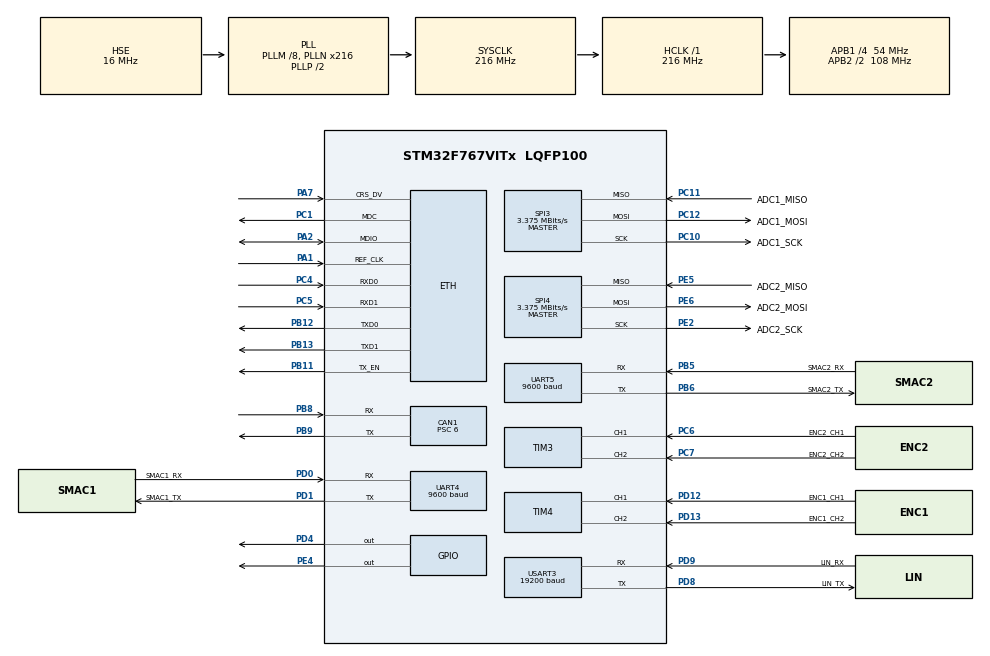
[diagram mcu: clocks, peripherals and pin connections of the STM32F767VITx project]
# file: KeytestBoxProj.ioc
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CAN1.ABOM=DISABLE
CAN1.BS1=CAN_BS1_16TQ
CAN1.CalculateBaudRate=500000
CAN1.CalculateTimeBit=2000
CAN1.CalculateTimeQuantum=111.11111111111111
CAN1.NART=DISABLE
CAN1.Prescaler=6
CORTEX_M7.AccessPermission_Spec=MPU_REGION_NO_ACCESS
CORTEX_M7.CPU_DCache=Disabled
CORTEX_M7.CPU_ICache=Disabled
CORTEX_M7.MPU_Control=MPU_PRIVILEGED_DEFAULT
CORTEX_M7.default_mode_Activation=1
ETH.ETH_RX_DESC_CNT=16
ETH.ETH_TX_DESC_CNT=16
ETH.MediaInterface=HAL_ETH_RMII_MODE
FREERTOS.Tasks01=defaultTask,-2,128,StartDefaultTask,Default,NULL,Dynamic,NULL,NULL;KeyTestTask,3,2048,KeytestTask,Default,(void*)st_Keytest,Dynamic,NULL,NULL;MqttTask,-2,4096,MqttTaskFunction,Default,NULL,Dynamic,NULL,NULL
FREERTOS.configTOTAL_HEAP_SIZE=65536
FREERTOS.configUSE_NEWLIB_REENTRANT=1
FREERTOS.configUSE_TRACE_FACILITY=1
LWIP.BSP.number=1
LWIP.DEFAULT_THREAD_PRIO=4
LWIP.GATEWAY_ADDRESS=192.168.001.254
LWIP.IP_ADDRESS=192.168.001.101
LWIP.LWIP_ALLOW_MEM_FREE_FROM_OTHER_CONTEXT=0
LWIP.LWIP_DHCP=0
LWIP.LWIP_MPU_COMPATIBLE=1
LWIP.LWIP_TCPIP_CORE_LOCKING=1
LWIP.LWIP_TCPIP_CORE_LOCKING_INPUT=1
LWIP.MEMP_NUM_PBUF=64
LWIP.MEMP_NUM_SYS_TIMEOUT=6
LWIP.MEMP_USE_CUSTOM_POOLS=0
LWIP.MEM_SIZE=65536
LWIP.MEM_USE_POOLS=0
LWIP.MEM_USE_POOLS_TRY_BIGGER_POOL=1
LWIP.NETMASK_ADDRESS=255.255.255.000
LWIP.PBUF_POOL_BUFSIZE=1024
LWIP.PBUF_POOL_SIZE=64
LWIP.SLIPIF_THREAD_PRIO=4
LWIP.TCPIP_THREAD_PRIO=4
LWIP.Version=v2.1.2_Cube
LWIP0.BSP.STBoard=false
LWIP0.BSP.api=BSP_COMPONENT_DRIVER
LWIP0.BSP.component=LAN8742
LWIP0.BSP.instance=LAN8742
LWIP0.BSP.name=Driver_PHY
LWIP0.BSP.semaphore=S_LAN8742
LWIP0.BSP.solution=LAN8742
Mcu.Family=STM32F7
Mcu.Name=STM32F767VITx
Mcu.Package=LQFP100
NVIC.CAN1_RX0_IRQn=true\:5\:0\:false\:false\:true\:true\:true\:true\:true
NVIC.CAN1_RX1_IRQn=true\:5\:0\:false\:false\:true\:true\:true\:true\:true
NVIC.ETH_IRQn=true\:5\:0\:false\:false\:true\:true\:false\:true\:true
NVIC.PriorityGroup=NVIC_PRIORITYGROUP_4
NVIC.SPI3_IRQn=true\:5\:0\:false\:false\:true\:true\:true\:true\:true
NVIC.SPI4_IRQn=true\:5\:0\:false\:false\:true\:true\:true\:true\:true
NVIC.TIM1_UP_TIM10_IRQn=true\:15\:0\:false\:false\:true\:false\:false\:true\:true
NVIC.TIM8_UP_TIM13_IRQn=true\:5\:0\:false\:false\:true\:true\:true\:true\:true
NVIC.TimeBase=TIM1_UP_TIM10_IRQn
NVIC.TimeBaseIP=TIM1
NVIC.UART4_IRQn=true\:5\:0\:false\:false\:true\:true\:true\:true\:true
NVIC.UART5_IRQn=true\:5\:0\:false\:false\:true\:true\:true\:true\:true
NVIC.USART3_IRQn=true\:5\:0\:false\:false\:true\:true\:true\:true\:true
PA1.Mode=RMII
PA1.Signal=ETH_REF_CLK
PA13.Mode=Trace_Asynchronous_SW
PA13.Signal=SYS_JTMS-SWDIO
PA14.Mode=Trace_Asynchronous_SW
PA14.Signal=SYS_JTCK-SWCLK
PA2.Mode=RMII
PA2.Signal=ETH_MDIO
PA7.Mode=RMII
PA7.Signal=ETH_CRS_DV
PB11.Mode=RMII
PB11.Signal=ETH_TX_EN
PB12.Mode=RMII
PB12.Signal=ETH_TXD0
PB13.Mode=RMII
PB13.Signal=ETH_TXD1
PB3.Mode=Trace_Asynchronous_SW
PB3.Signal=SYS_JTDO-SWO
PB5.GPIO_Label=SMAC2_RX
PB5.Mode=Asynchronous
PB5.Signal=UART5_RX
PB6.GPIO_Label=SMAC2_TX
PB6.Mode=Asynchronous
PB6.Signal=UART5_TX
PB8.Mode=CAN_Activate
PB8.Signal=CAN1_RX
PB9.Mode=CAN_Activate
PB9.Signal=CAN1_TX
PC1.Mode=RMII
PC1.Signal=ETH_MDC
PC10.GPIO_Label=ADC1_SCK
PC10.Mode=Full_Duplex_Master
PC10.Signal=SPI3_SCK
PC11.GPIO_Label=ADC1_MISO
PC11.Mode=Full_Duplex_Master
PC11.Signal=SPI3_MISO
PC12.GPIO_Label=ADC1_MOSI
PC12.Mode=Full_Duplex_Master
PC12.Signal=SPI3_MOSI
PC4.Mode=RMII
PC4.Signal=ETH_RXD0
PC5.Mode=RMII
PC5.Signal=ETH_RXD1
PC6.GPIO_Label=ENC2_CH1
PC6.Signal=S_TIM3_CH1
PC7.GPIO_Label=ENC2_CH2
PC7.Signal=S_TIM3_CH2
PD0.GPIO_Label=SMAC1_RX
PD0.Mode=Asynchronous
PD0.Signal=UART4_RX
PD1.GPIO_Label=SMAC1_TX
PD1.Mode=Asynchronous
PD1.Signal=UART4_TX
PD12.GPIO_Label=ENC1_CH1
PD12.Signal=S_TIM4_CH1
PD13.GPIO_Label=ENC1_CH2
PD13.Signal=S_TIM4_CH2
PD4.Signal=GPIO_Output
PD8.GPIO_Label=LIN_TX
PD8.Mode=LIN
PD8.Signal=USART3_TX
PD9.GPIO_Label=LIN_RX
PD9.Mode=LIN
PD9.Signal=USART3_RX
PE2.GPIO_Label=ADC2_SCK
PE2.Mode=Full_Duplex_Master
PE2.Signal=SPI4_SCK
PE4.Signal=GPIO_Output
PE5.GPIO_Label=ADC2_MISO
PE5.Mode=Full_Duplex_Master
PE5.Signal=SPI4_MISO
PE6.GPIO_Label=ADC2_MOSI
PE6.Mode=Full_Duplex_Master
PE6.Signal=SPI4_MOSI
PH0/OSC_IN.Mode=HSE-External-Oscillator
PH0/OSC_IN.Signal=RCC_OSC_IN
PH1/OSC_OUT.Mode=HSE-External-Oscillator
PH1/OSC_OUT.Signal=RCC_OSC_OUT
ProjectManager.HeapSize=0x2000
ProjectManager.StackSize=0x400
ProjectManager.TargetToolchain=STM32CubeIDE
RCC.AHBFreq_Value=216000000
RCC.APB1CLKDivider=RCC_HCLK_DIV4
RCC.APB1Freq_Value=54000000
RCC.APB1TimFreq_Value=108000000
RCC.APB2CLKDivider=RCC_HCLK_DIV2
RCC.APB2Freq_Value=108000000
RCC.APB2TimFreq_Value=216000000
RCC.CortexFreq_Value=216000000
RCC.HCLKFreq_Value=216000000
RCC.HSE_VALUE=16000000
RCC.HSI_VALUE=16000000
RCC.LSE_VALUE=32768
RCC.PLLM=8
RCC.PLLN=216
RCC.PLLSourceVirtual=RCC_PLLSOURCE_HSE
RCC.SYSCLKFreq_VALUE=216000000
RCC.SYSCLKSource=RCC_SYSCLKSOURCE_PLLCLK
RCC.USBFreq_Value=216000000
RCC.VCOOutputFreq_Value=432000000
SH.S_TIM3_CH1.0=TIM3_CH1,Encoder_Interface
SH.S_TIM3_CH2.0=TIM3_CH2,Encoder_Interface
SH.S_TIM4_CH1.0=TIM4_CH1,Encoder_Interface
SH.S_TIM4_CH2.0=TIM4_CH2,Encoder_Interface
SPI3.BaudRatePrescaler=SPI_BAUDRATEPRESCALER_16
SPI3.CalculateBaudRate=3.375 MBits/s
SPI3.DataSize=SPI_DATASIZE_8BIT
SPI3.Direction=SPI_DIRECTION_2LINES
SPI3.Mode=SPI_MODE_MASTER
SPI3.NSSPMode=SPI_NSS_PULSE_DISABLE
SPI3.VirtualType=VM_MASTER
SPI4.BaudRatePrescaler=SPI_BAUDRATEPRESCALER_32
SPI4.CalculateBaudRate=3.375 MBits/s
SPI4.DataSize=SPI_DATASIZE_8BIT
SPI4.Direction=SPI_DIRECTION_2LINES
SPI4.Mode=SPI_MODE_MASTER
SPI4.NSSPMode=SPI_NSS_PULSE_DISABLE
SPI4.VirtualType=VM_MASTER
TIM13.AutoReloadPreload=TIM_AUTORELOAD_PRELOAD_ENABLE
TIM13.Period=64799
TIM13.Prescaler=0
TIM3.AutoReloadPreload=TIM_AUTORELOAD_PRELOAD_ENABLE
TIM3.EncoderMode=TIM_ENCODERMODE_TI12
TIM3.IC1Filter=10
TIM3.IC2Filter=10
TIM4.AutoReloadPreload=TIM_AUTORELOAD_PRELOAD_ENABLE
TIM4.EncoderMode=TIM_ENCODERMODE_TI12
TIM4.IC1Filter=10
TIM4.IC2Filter=10
UART4.BaudRate=9600
UART5.BaudRate=9600
USART3.BaudRate=19200
USART3.VirtualMode-LIN=VM_LIN
VP_FREERTOS_VS_CMSIS_V1.Mode=CMSIS_V1
VP_LWIP_VS_Enabled.Mode=Enabled
VP_SYS_VS_tim1.Mode=TIM1
VP_TIM13_VS_ClockSourceINT.Mode=Enable_Timer
VP_TIM14_VS_ClockSourceINT.Mode=Enable_Timer
board=custom

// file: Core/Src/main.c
/* USER CODE BEGIN Header */
/**
  ******************************************************************************
  * @file           : main.c
  * @brief          : Main program body
  ******************************************************************************
  * @attention
  *
  * Copyright (c) 2023 STMicroelectronics.
  * All rights reserved.
  *
  * This software is licensed under terms that can be found in the LICENSE file
  * in the root directory of this software component.
  * If no LICENSE file comes with this software, it is provided AS-IS.
  *
  ******************************************************************************
  */
/* USER CODE END Header */
#include "main.h"
#include "cmsis_os.h"
#include "can.h"
#include "spi.h"
#include "tim.h"
#include "usart.h"
#include "gpio.h"

/* USER CODE BEGIN Includes */
#include "FreeRTOS.h"
#include "MAX1032.h"
#include "stdio.h"
#include "string.h"
#include "keytest.h"
/* USER CODE END Includes */

void SystemClock_Config(void);
static void MPU_Config(void);
void MX_FREERTOS_Init(void);

/* USER CODE BEGIN 0 */
extern osThreadId FirstTestTaskHandle;
extern osThreadId defaultTaskHandle;

extern xQueueHandle SmacOperationsQueue;

extern s_KeyTest* st_Keytest;

s_MAX1032 adc1;
s_MAX1032 adc2;

extern uint32_t sampleNUM;

/* USER CODE END 0 */

int main(void)
{

  /* MPU Configuration--------------------------------------------------------*/
  MPU_Config();

  /* MCU Configuration--------------------------------------------------------*/

  /* Reset of all peripherals, Initializes the Flash interface and the Systick. */
  HAL_Init();

  /* Configure the system clock */
  SystemClock_Config();

  /* USER CODE BEGIN SysInit */
 // Use Tracealyzer
  //xTraceInitialize();
  //xTraceEnable(TRC_START);

  /* USER CODE END SysInit */

  /* Initialize all configured peripherals */
  MX_GPIO_Init();
  MX_SPI3_Init();
  MX_SPI4_Init();
  MX_TIM3_Init();
  MX_TIM4_Init();
  MX_TIM13_Init();
  MX_UART4_Init();
  MX_UART5_Init();
  MX_USART3_UART_Init();
  MX_CAN1_Init();
  MX_TIM14_Init();

  /* Call init function for freertos objects (in freertos.c) */
  MX_FREERTOS_Init();

  /* Start scheduler */
  osKernelStart();
  /* We should never get here as control is now taken by the scheduler */
  /* Infinite loop */
  /* USER CODE BEGIN WHILE */
  while (1)
  {
	/* We should never get here as control is now taken by the scheduler */
    /* USER CODE END WHILE */

  }
}

void SystemClock_Config(void)
{
  RCC_OscInitTypeDef RCC_OscInitStruct = {0};
  RCC_ClkInitTypeDef RCC_ClkInitStruct = {0};

  /** Configure the main internal regulator output voltage
  */
  __HAL_RCC_PWR_CLK_ENABLE();
  __HAL_PWR_VOLTAGESCALING_CONFIG(PWR_REGULATOR_VOLTAGE_SCALE1);

  /** Initializes the RCC Oscillators according to the specified parameters
  * in the RCC_OscInitTypeDef structure.
  */
  RCC_OscInitStruct.OscillatorType = RCC_OSCILLATORTYPE_HSE;
  RCC_OscInitStruct.HSEState = RCC_HSE_ON;
  RCC_OscInitStruct.PLL.PLLState = RCC_PLL_ON;
  RCC_OscInitStruct.PLL.PLLSource = RCC_PLLSOURCE_HSE;
  RCC_OscInitStruct.PLL.PLLM = 8;
  RCC_OscInitStruct.PLL.PLLN = 216;
  RCC_OscInitStruct.PLL.PLLP = RCC_PLLP_DIV2;
  RCC_OscInitStruct.PLL.PLLQ = 2;
  RCC_OscInitStruct.PLL.PLLR = 2;
  if (HAL_RCC_OscConfig(&RCC_OscInitStruct) != HAL_OK)
  {
    Error_Handler();
  }

  /** Activate the Over-Drive mode
  */
  if (HAL_PWREx_EnableOverDrive() != HAL_OK)
  {
    Error_Handler();
  }

  /** Initializes the CPU, AHB and APB buses clocks
  */
  RCC_ClkInitStruct.ClockType = RCC_CLOCKTYPE_HCLK|RCC_CLOCKTYPE_SYSCLK
                              |RCC_CLOCKTYPE_PCLK1|RCC_CLOCKTYPE_PCLK2;
  RCC_ClkInitStruct.SYSCLKSource = RCC_SYSCLKSOURCE_PLLCLK;
  RCC_ClkInitStruct.AHBCLKDivider = RCC_SYSCLK_DIV1;
  RCC_ClkInitStruct.APB1CLKDivider = RCC_HCLK_DIV4;
  RCC_ClkInitStruct.APB2CLKDivider = RCC_HCLK_DIV2;

  if (HAL_RCC_ClockConfig(&RCC_ClkInitStruct, FLASH_LATENCY_7) != HAL_OK)
  {
    Error_Handler();
  }
}

/* MPU Configuration */

void MPU_Config(void)
{
  MPU_Region_InitTypeDef MPU_InitStruct = {0};

  /* Disables the MPU */
  HAL_MPU_Disable();

  /** Initializes and configures the Region and the memory to be protected
  */
  MPU_InitStruct.Enable = MPU_REGION_ENABLE;
  MPU_InitStruct.Number = MPU_REGION_NUMBER0;
  MPU_InitStruct.BaseAddress = 0x0;
  MPU_InitStruct.Size = MPU_REGION_SIZE_4GB;
  MPU_InitStruct.SubRegionDisable = 0x87;
  MPU_InitStruct.TypeExtField = MPU_TEX_LEVEL0;
  MPU_InitStruct.AccessPermission = MPU_REGION_NO_ACCESS;
  MPU_InitStruct.DisableExec = MPU_INSTRUCTION_ACCESS_DISABLE;
  MPU_InitStruct.IsShareable = MPU_ACCESS_SHAREABLE;
  MPU_InitStruct.IsCacheable = MPU_ACCESS_NOT_CACHEABLE;
  MPU_InitStruct.IsBufferable = MPU_ACCESS_NOT_BUFFERABLE;

  HAL_MPU_ConfigRegion(&MPU_InitStruct);
  /* Enables the MPU */
  HAL_MPU_Enable(MPU_PRIVILEGED_DEFAULT);

}

void HAL_TIM_PeriodElapsedCallback(TIM_HandleTypeDef *htim)
{
  /* USER CODE BEGIN Callback 0 */
  uint8_t operation = OP_TEST_SAMPLE;
  BaseType_t pxHigherPriorityTaskWoken = pdFALSE;
  /* USER CODE END Callback 0 */
  if (htim->Instance == TIM1) {
    HAL_IncTick();
  }
  /* USER CODE BEGIN Callback 1 */
  else
  if(htim->Instance == st_Keytest->FreqTimer->Instance)  //nao pode comparar isto ainda
  {
	  //Deactivate Can Notification so that it doesnt occur during the Sample Operation
	  if(st_Keytest->UUT_Protocol == CAN_PROTOCOL)
	  {
		  if(st_Keytest->isCanFIFO0_Active)
			  HAL_CAN_DeactivateNotification(st_Keytest->CanPort, CAN_IT_RX_FIFO0_MSG_PENDING);
		  if(st_Keytest->isCanFIFO1_Active)
			  HAL_CAN_DeactivateNotification(st_Keytest->CanPort, CAN_IT_RX_FIFO1_MSG_PENDING);
	  }
	  //KEYTEST 1 Sample Time Elapsed
  	  //Send Test Sample Operation to Queue of KeytestTask
	  sampleNUM++;
	  xQueueSendToFrontFromISR(SmacOperationsQueue, &operation, &pxHigherPriorityTaskWoken);
  	  portYIELD_FROM_ISR(pxHigherPriorityTaskWoken);
  }
  /* USER CODE END Callback 1 */
}

void Error_Handler(void)
{
  __disable_irq();
  while (1)
  {
  }
}

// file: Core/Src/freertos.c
/* USER CODE BEGIN Header */
/**
  ******************************************************************************
  * File Name          : freertos.c
  * Description        : Code for freertos applications
  ******************************************************************************
  * @attention
  *
  * Copyright (c) 2023 STMicroelectronics.
  * All rights reserved.
  *
  * This software is licensed under terms that can be found in the LICENSE file
  * in the root directory of this software component.
  * If no LICENSE file comes with this software, it is provided AS-IS.
  *
  ******************************************************************************
  */
/* USER CODE END Header */

#include "FreeRTOS.h"
#include "task.h"
#include "main.h"
#include "cmsis_os.h"

/* USER CODE BEGIN Includes */
#include "tim.h"
#include "spi.h"
#include "keytest.h"
#include "MAX1032.h"
#include "fifo.h"
#include "mqtt_com.h"
#include "cmdparser.h"

#include "stdlib.h"
#include "stdio.h"
#include "string.h"
#include "stdbool.h"
#include "lwip.h"
#include "boxUserConfig.h"

/* USER CODE END Includes */

/* USER CODE BEGIN PTD */
uint8_t CAN_RxData[CAN_MAX_NUM_INTEREST_IDS][8];
bool CAN_MessageProcessed[CAN_MAX_NUM_INTEREST_IDS];
CAN_RxHeaderTypeDef CAN_RxHeader[CAN_MAX_NUM_INTEREST_IDS];

#if USE_ADC_INTERRUPT
extern uint8_t SPI_Transfer_Tx[4];
extern uint8_t SPI_Transfer_Rx[5];
#endif
/* USER CODE END PTD */

/* USER CODE BEGIN PD */

uint8_t LIN_Receive = 0;

char outputTestData[SIZE_OUTPUT_BUFFER] = "";
uint32_t RemainingOutputBytes;
uint32_t numOutputBytes;

ST_FIFO SmacRecvFIFO;

extern Command KeytestBox_cmd_list[NUM_CMDS];
uint32_t index_output = 0;

xQueueHandle MqttRequestQueue;
xQueueHandle SmacOperationsQueue;

s_KeyTest* st_Keytest;

extern uint8_t UUT_LIN_RxData[16];

extern char TestParamsSmac [NUM_PARAMS][NUM_PARAM_ELEMENTS][PARAMS_SIZE];

extern uint8_t reconnect;
extern mqtt_client_t *mqtt_client_instance;

uint32_t sampleNUM = 0;

uint8_t idlebyte;
uint8_t accept_chars_smac;
/* USER CODE END PD */

osThreadId defaultTaskHandle;
osThreadId KeyTestTaskHandle;
osThreadId MqttTaskHandle;

void StartDefaultTask(void const * argument);
void KeytestTask(void const * argument);
void MqttTaskFunction(void const * argument);

void MX_FREERTOS_Init(void); /* (MISRA C 2004 rule 8.1) */

/* GetIdleTaskMemory prototype (linked to static allocation support) */
void vApplicationGetIdleTaskMemory( StaticTask_t **ppxIdleTaskTCBBuffer, StackType_t **ppxIdleTaskStackBuffer, uint32_t *pulIdleTaskStackSize );

/* USER CODE BEGIN GET_IDLE_TASK_MEMORY */
static StaticTask_t xIdleTaskTCBBuffer;
static StackType_t xIdleStack[configMINIMAL_STACK_SIZE];

void vApplicationGetIdleTaskMemory( StaticTask_t **ppxIdleTaskTCBBuffer, StackType_t **ppxIdleTaskStackBuffer, uint32_t *pulIdleTaskStackSize )
{
  *ppxIdleTaskTCBBuffer = &xIdleTaskTCBBuffer;
  *ppxIdleTaskStackBuffer = &xIdleStack[0];
  *pulIdleTaskStackSize = configMINIMAL_STACK_SIZE;
  /* place for user code */
}
/* USER CODE END GET_IDLE_TASK_MEMORY */

void MX_FREERTOS_Init(void) {

  /* USER CODE BEGIN RTOS_QUEUES */
  /* add queues, ... */
  st_Keytest = (s_KeyTest*)calloc(1, sizeof(s_KeyTest));
  /* USER CODE END RTOS_QUEUES */

  /* Create the thread(s) */
  /* definition and creation of defaultTask */
  osThreadDef(defaultTask, StartDefaultTask, osPriorityLow, 0, 128);
  defaultTaskHandle = osThreadCreate(osThread(defaultTask), NULL);

  /* definition and creation of KeyTestTask */
  osThreadDef(KeyTestTask, KeytestTask, osPriorityRealtime, 0, 2048);
  KeyTestTaskHandle = osThreadCreate(osThread(KeyTestTask), (void*)st_Keytest);

  /* definition and creation of MqttTask */
  osThreadDef(MqttTask, MqttTaskFunction, osPriorityLow, 0, 4096);
  MqttTaskHandle = osThreadCreate(osThread(MqttTask), NULL);

}

void StartDefaultTask(void const * argument)
{
  /* USER CODE BEGIN StartDefaultTask */
  /* Infinite loop */
  for(;;)
  {
    osDelay(portMAX_DELAY);
  }
  /* USER CODE END StartDefaultTask */
}

void KeytestTask(void const * argument)
{
  /* USER CODE BEGIN KeytestTask */
  float sampleADC;
  int16_t sampleEncoder;
  uint8_t eOperation;

  //Typecast argument to receive keytest instance
  s_KeyTest* keytest_h = (s_KeyTest*) argument;

  if(xTaskGetCurrentTaskHandle() == KeyTestTaskHandle)
  {
	  KeyTestInit(keytest_h, TestParamsSmac, DEFAULT_KEYTEST_FREQ, outputTestData);
	  SmacOperationsQueue = xQueueCreate(64, sizeof(uint8_t));
	  HAL_UART_Receive_IT(&huart4,&idlebyte, 1);
	  HAL_UART_Receive_IT(&huart5,&idlebyte, 1);
  }

  memset(outputTestData, '\0', sizeof(outputTestData));

  /* Infinite loop */
  for(;;)
  {

	//WAIT TASKNOTIFICATION
	xQueueReceive(SmacOperationsQueue, &eOperation, pdMS_TO_TICKS(5));

	switch (eOperation)
	{

	case OP_TEST_SAMPLE:
	    eOperation = 0;

	#if USE_ADC_INTERRUPT
	    uint16_t aux = 0;
	    // Sample Values
	    // Value sent from piece is Read and updated outside by ISR
	   // HAL_TIM_Base_Stop(&htim14);
	    //htim14.Instance->CNT = 0;
	    //HAL_TIM_Base_Start(&htim14);

	    ReadADCISR_Request(keytest_h->p_adc, keytest_h->adcChannel);
	    sampleEncoder = ReadEncoder(keytest_h);

	    index_output += snprintf(outputTestData + index_output, sizeof(outputTestData) - index_output, "%d", sampleEncoder);
	    for(int i = 0; i<st_Keytest->numInterestIDs; i++)
	    	index_output += snprintf(outputTestData + index_output, sizeof(outputTestData) - index_output, " %lX", st_Keytest->UUT_ReadValues[i]);

	    // Wait for ADC to finish reading
	    xTaskNotifyWait(0, 0, NULL, pdMS_TO_TICKS(5));

	    // Process ADC Value and add to output buffer
	    aux = (SPI_Transfer_Rx[2] << 8) | SPI_Transfer_Rx[3];
	    aux >>= 2;

	    // Use fixed-point arithmetic for sampleADC calculation
	    const int scale_factor = 16383;
	    const float conversion_factor = 24.576 / scale_factor;
	    sampleADC = (float)aux * conversion_factor - 12.288;

	    // Format ADC output string directly
	    index_output += snprintf(outputTestData + index_output, sizeof(outputTestData) - index_output, " %.3f\r", sampleADC);
	    //index_output += snprintf(outputTestData + index_output, sizeof(outputTestData) - index_output, "%d %.8lX %.3f\r\n", sampleEncoder, sampleKey, sampleADC);
	    // Increment number of samples
	   // HAL_TIM_Base_Stop(&htim14);
	    //index_output += snprintf(outputTestData + index_output, sizeof(outputTestData) - index_output, " %ld", htim14.Instance->CNT);
	    //index_output += snprintf(outputTestData + index_output, sizeof(outputTestData) - index_output, "\r");

	    // Reactivate CAN ISR
	    if (st_Keytest->UUT_Protocol == CAN_PROTOCOL)
	    {
	    	if(st_Keytest->isCanFIFO0_Active)
	      	    HAL_CAN_ActivateNotification(st_Keytest->CanPort, CAN_IT_RX_FIFO0_MSG_PENDING);

	    	if(st_Keytest->isCanFIFO1_Active)
	    		HAL_CAN_ActivateNotification(st_Keytest->CanPort, CAN_IT_RX_FIFO1_MSG_PENDING);
	    }

	    break;
	#else
	    // Sample Values
	    // Value sent from piece is Read and updated outside by ISR

	   // HAL_TIM_Base_Stop(&htim14);
	   // htim14.Instance->CNT = 0;
	    //HAL_TIM_Base_Start(&htim14);
	    sampleADC = ReadADC_Polling(keytest_h->p_adc, keytest_h->adcChannel);
	    sampleEncoder = ReadEncoder(keytest_h);
   	   // sampleKey = (int16_t)(keytest_h->UUT_ReadValue);

   	    index_output += snprintf(outputTestData + index_output, sizeof(outputTestData) - index_output, "%d %.3f", sampleEncoder, sampleADC);

   	    for(int i = 0; i<st_Keytest->numInterestIDs; i++)
   	    	index_output += snprintf(outputTestData + index_output, sizeof(outputTestData) - index_output, " %lX", st_Keytest->UUT_ReadValues[i]);

   	    //index_output += snprintf(outputTestData + index_output, sizeof(outputTestData) - index_output, "\r");

   	   // HAL_TIM_Base_Stop(&htim14);
   	    //index_output += snprintf(outputTestData + index_output, sizeof(outputTestData) - index_output, "%ld", htim14.Instance->CNT);
   	    index_output += snprintf(outputTestData + index_output, sizeof(outputTestData) - index_output, "\r");

   	    //sampleADC = 0;
   	    //htim14.Instance->CNT = 0;

   	    // Reactivate CAN ISR
   	    if (st_Keytest->UUT_Protocol == CAN_PROTOCOL)
   	    {
   	    	if(st_Keytest->isCanFIFO0_Active)
   	    		HAL_CAN_ActivateNotification(st_Keytest->CanPort, CAN_IT_RX_FIFO0_MSG_PENDING);

   	    	if(st_Keytest->isCanFIFO1_Active)
   	    		HAL_CAN_ActivateNotification(st_Keytest->CanPort, CAN_IT_RX_FIFO1_MSG_PENDING);
   	    }
   	    break;
    #endif

		case OP_START_TEST:
			eOperation = 0;
			ClearTestTimer(keytest_h);
			sampleNUM = 0;
			memset(outputTestData, '\0', sizeof(outputTestData));

			if(keytest_h->UUT_Protocol == CAN_PROTOCOL)
			{
				//Activate CAN Notifications for when a message with target ID arrives at the corresponding FIFO
				if(st_Keytest->isCanFIFO0_Active)
					HAL_CAN_ActivateNotification(keytest_h->CanPort, CAN_IT_RX_FIFO0_MSG_PENDING);
				if(st_Keytest->isCanFIFO1_Active)
					HAL_CAN_ActivateNotification(keytest_h->CanPort, CAN_IT_RX_FIFO1_MSG_PENDING);
			}
			else
			if(st_Keytest->UUT_Protocol == LIN_PROTOCOL)
			{
				//Start Listening to LIN BUS -> ISR occurs when (UUT_NumDataBytes + Header) Bytes are received
				HAL_UART_Receive_IT(keytest_h->LinPort, UUT_LIN_RxData, keytest_h->UUT_InterestIDsInfo[0].NumDataBytes + LIN_HEADER_BYTES);
			}
			else
			{
				//If LIN/CAN are not setup and the command sent is Start Test, Warn about the Error
				if(keytest_h->enabled)
				{
					Mqtt_AddSendOperation(ERROR_TOPIC, "CAN/LIN are not setup\n");
					keytest_h->enabled = 0;
					st_Keytest->status = S_READY;
					//keytest_h->test_count = 0;
				}
				else
				{
					//The command sent was resetsmac or ms0 while a test was not running
					HAL_UART_Transmit(st_Keytest->SmacPort, (uint8_t*)"ms0\r", strlen("ms0\r"), HAL_MAX_DELAY);
					st_Keytest->status = S_READY;
					Mqtt_AddSendOperation(LOG_TOPIC, "ms0 Sent\n");
				}
				break;
			}

			if(st_Keytest->enabled)
			{
				//The command sent was ms0 and the CAN/LIN is correctly setup
				//Run Test
				st_Keytest->status = S_BUSY;
				index_output = 0;
				HAL_UART_Transmit(keytest_h->SmacPort, (uint8_t*)"ms38\r", strlen("ms38\r"), HAL_MAX_DELAY);
			}
			else
			{
				//Command sent was stoptest or ms0 during a test
				st_Keytest->status = S_READY;
				HAL_UART_Transmit(st_Keytest->SmacPort, (uint8_t*)"ms0\r", strlen("ms0\r"), HAL_MAX_DELAY);
				Mqtt_AddSendOperation(LOG_TOPIC, "ms0 Sent\r\n");
			}
			break;

		case OP_UPDATE_CAN_VALUE:
			//CAN is being updated directly in the CAN_FIFO Interrupt but it can be updated here if you Send an operation from CAN_FIFO
			eOperation = 0;
			for(int i = 0; i < st_Keytest->numInterestIDs; i++)
			{
				if(!CAN_MessageProcessed[i])
				{
					st_Keytest->UUT_ReadValues[i] = readBits(CAN_RxData[i], keytest_h->UUT_InterestIDsInfo[i].startBit, keytest_h->UUT_InterestIDsInfo[i].numBits);
					CAN_MessageProcessed[i] = 1;
				}
			}
			//st_Keytest->UUT_ReadValue = readBits(CAN_RxData, keytest_h->.startBit, keytest_h->UUT_ReadInfo.numBits);
			break;

		case OP_UPDATE_LIN_VALUE:
			eOperation = 0;
			//Read Lin Value
			st_Keytest->UUT_ReadValues[st_Keytest->numInterestIDs - 1] = readBits(UUT_LIN_RxData,keytest_h->UUT_InterestIDsInfo[st_Keytest->numInterestIDs -1].startBit, keytest_h->UUT_InterestIDsInfo[st_Keytest->numInterestIDs -1].numBits);
			HAL_UART_Receive_IT(keytest_h->LinPort, UUT_LIN_RxData, keytest_h->UUT_InterestIDsInfo[0].NumDataBytes + LIN_HEADER_BYTES);
			break;

		case OP_SMAC_MSG:
			eOperation = 0;
			ProcessSmacMessage(keytest_h);
			break;

		default:
			eOperation = 0;
			break;
	}
  }
  /* USER CODE END KeytestTask */
}

void MqttTaskFunction(void const * argument)
{
  /* USER CODE BEGIN MqttTaskFunction */
	err_t mqtt_err;
	int keytestbox_err;
	BaseType_t xRet;
	MqttRequest_t MqttRequest;

	MX_LWIP_Init();

	MqttRequestQueue = xQueueCreate(16, sizeof(MqttRequest));

	Mqtt_AddConnectOperation();

//  /* Infinite loop */
  for(;;)
  {

	  xQueueReceive(MqttRequestQueue, &MqttRequest, portMAX_DELAY);

	  switch(MqttRequest.eOperation)
	  {

	  case eConnect:

		  if(!mqtt_client_is_connected(mqtt_client_instance))
		  {
			  xRet = bsp_mqtt_connect();       //Connect to broker
			  if(xRet != ERR_OK && xRet != ERR_ALREADY && xRet != ERR_ISCONN)
			  {
				  osDelay(500);
				  mqtt_disconnect(mqtt_client_instance);
				  Mqtt_AddConnectOperation();
			  }

		  }
		  else
			  Mqtt_AddSendOperation(LOG_TOPIC, "Already Connected!\r\n");

		  break;

	  case eReceive:
		  //Ver se precisa de setup
		  keytestbox_err = ucmd_parse(KeytestBox_cmd_list, UCMD_DEFAULT_DELIMETER, (const char*)MqttRequest.data);

		  if(keytestbox_err)
			  Mqtt_AddErrorHandleOperation(keytestbox_err);

		  break;

	  case eSend:
		  mqtt_err = bsp_mqtt_publish(mqtt_client_instance, MqttRequest.topic, MqttRequest.data, strlen(MqttRequest.data), 0, 0);

		  if(mqtt_err != ERR_OK)
		  {
			  Mqtt_AddErrorHandleOperation(mqtt_err);
			  //Retry Same operation, add it to queue
			  Mqtt_AddSendOperation(MqttRequest.topic, MqttRequest.data);
		  }

		  break;

	  case eOutputTestData:

		  //printf("%d\n", sampleNUM);
		  //printf("%s", outputTestData);

		  st_Keytest->status = S_OUTPUT;

		  char mqttmsg1[32] = "";
		  char mqttmsg2[32] = "";
		  int32_t testFrequency = (int32_t) st_Keytest->TestFrequency_Hz;

		  float testTime =(float)(1.0f/testFrequency);
		  testTime *= (float)sampleNUM;

		  sprintf(mqttmsg1, "Test time %.3f s\r\n", testTime);
		  sprintf(mqttmsg2, "outputting %ld samples\r\n", sampleNUM);

		  //Send Test Time Wait for publish to finish
		  bsp_mqtt_publish(mqtt_client_instance, KEYTEST1_TOPIC, mqttmsg1, strlen(mqttmsg1), 2, 0);
		  xTaskNotifyWait(0, 0, NULL, portMAX_DELAY);
		  //Send Output Start Message Wait for publish to finish
		  bsp_mqtt_publish(mqtt_client_instance, KEYTEST1_TOPIC, mqttmsg2, strlen(mqttmsg2), 2, 0);
		  xTaskNotifyWait(0, 0, NULL, portMAX_DELAY);

		  RemainingOutputBytes = getNumOutputBytes();
		  if (RemainingOutputBytes <= MQTT_SIZE_EACH_PUBLISH)
		  {
			  // Publish the entire array if the size is less than MQTT_SIZE_EACH_PUBLISH bytes
			  bsp_mqtt_publish(mqtt_client_instance, KEYTEST1_TOPIC, outputTestData, numOutputBytes, 2, 0);
			  xTaskNotifyWait(0, 0, NULL, portMAX_DELAY);
			  index_output = 0;
			  sampleNUM = 0;
			  st_Keytest->status = S_READY;
			  break;
			  // Wait for notification, update SMAC state, and break
			  //esperar notificação, atualizar SMAC state e fazer break;
		  }
		  else
		  {
			  // If the array size exceeds MQTT_SIZE_EACH_PUBLISH bytes, publish in chunks of MQTT_SIZE_EACH_PUBLISH bytes
			  int chunkCount = (int) (RemainingOutputBytes / MQTT_SIZE_EACH_PUBLISH);
			  int currentChunk = 0;
			  while (currentChunk < chunkCount)
			  {
				  // Publish the current chunk of MQTT_SIZE_EACH_PUBLISH bytes
				  bsp_mqtt_publish(mqtt_client_instance, KEYTEST1_TOPIC, outputTestData + (currentChunk * MQTT_SIZE_EACH_PUBLISH), MQTT_SIZE_EACH_PUBLISH, 2, 0);
				  xTaskNotifyWait(0, 0, NULL, portMAX_DELAY);
				  currentChunk++;
			  }
			  // Publish the remaining bytes (less than MQTT_SIZE_EACH_PUBLISH)
			  RemainingOutputBytes = RemainingOutputBytes % MQTT_SIZE_EACH_PUBLISH;
			  bsp_mqtt_publish(mqtt_client_instance, KEYTEST1_TOPIC, outputTestData + (chunkCount * MQTT_SIZE_EACH_PUBLISH), RemainingOutputBytes, 2, 0);
			  xTaskNotifyWait(0, 0, NULL, portMAX_DELAY);

			  //Send "OutputFinished" Message
			  strcpy(mqttmsg1, "Output Finished\r\n");
			  bsp_mqtt_publish(mqtt_client_instance, KEYTEST1_TOPIC, mqttmsg1, strlen(mqttmsg1), 2, 0);
			  xTaskNotifyWait(0, 0, NULL, portMAX_DELAY);

			  st_Keytest->status = S_READY;
		  }

		  index_output = 0;
		  sampleNUM = 0;

		  break;

	  case eHandleMqttError:
		  Mqtt_Error_Handler(MqttRequest.error);

		  break;

	  }
	  osDelay(1);
  }
  /* USER CODE END MqttTaskFunction */
}

/* USER CODE BEGIN Application */

void HAL_CAN_RxFifo0MsgPendingCallback(CAN_HandleTypeDef *hcan)
{
	uint8_t CAN_RxDataLocal[8];
	CAN_RxHeaderTypeDef RxHeaderLocal;
	//uint8_t operation = OP_UPDATE_CAN_VALUE;                   //Used if you want to process CAN Value in a Task and not in the Interrupt
	//BaseType_t pxHigherPriorityTaskWoken = pdFALSE;			 //Used if you want to process CAN Value in a Task and not in the Interrupt

	if(hcan == st_Keytest->CanPort)
	{

		if (HAL_CAN_GetRxMessage(st_Keytest->CanPort, CAN_RX_FIFO0, &RxHeaderLocal, CAN_RxDataLocal) != HAL_OK)
		{
			Error_Handler();
		}

		for(int i = 0; i < st_Keytest->numInterestIDs; i++)
		{

			if (((RxHeaderLocal.ExtId == st_Keytest->UUT_InterestIDsInfo[i].ID) && (RxHeaderLocal.IDE == st_Keytest->UUT_InterestIDsInfo[i].is_extendedID))
				|| ((RxHeaderLocal.StdId == st_Keytest->UUT_InterestIDsInfo[i].ID) && (RxHeaderLocal.IDE == st_Keytest->UUT_InterestIDsInfo[i].is_extendedID)))
			{
				//READ DIRECTLY IN INTERRUPT
				st_Keytest->UUT_ReadValues[i] = readBits(CAN_RxDataLocal, st_Keytest->UUT_InterestIDsInfo[i].startBit, st_Keytest->UUT_InterestIDsInfo[i].numBits);

				//Notify Keytest Task to Read CAN Value
				//memcpy(CAN_RxData + i * sizeof(uint8_t), CAN_RxDataLocal, sizeof(CAN_RxDataLocal));
				//CAN_MessageProcessed[i] = 0;
				//Notify Keytest Task to Read Message
				//xQueueSendFromISR(SmacOperationsQueue, &operation,&pxHigherPriorityTaskWoken);
				//portYIELD_FROM_ISR(pxHigherPriorityTaskWoken);
			}

		}
	}
}

void HAL_CAN_RxFifo1MsgPendingCallback(CAN_HandleTypeDef *hcan)
{

	uint8_t CAN_RxDataLocal[8];
	CAN_RxHeaderTypeDef RxHeaderLocal;
	//uint8_t operation = OP_UPDATE_CAN_VALUE;					//Used if you want to process CAN Value in a Task and not in the Interrupt
	//BaseType_t pxHigherPriorityTaskWoken = pdFALSE;			//Used if you want to process CAN Value in a Task and not in the Interrupt

	if(hcan == st_Keytest->CanPort)
	{
		if (HAL_CAN_GetRxMessage(st_Keytest->CanPort, CAN_RX_FIFO1, &RxHeaderLocal, CAN_RxDataLocal) != HAL_OK)
		{
			Error_Handler();
		}

		for(int i = 0; i < st_Keytest->numInterestIDs; i++)
		{
			if (((RxHeaderLocal.ExtId == st_Keytest->UUT_InterestIDsInfo[i].ID) && (RxHeaderLocal.IDE == st_Keytest->UUT_InterestIDsInfo[i].is_extendedID))
				|| ((RxHeaderLocal.StdId == st_Keytest->UUT_InterestIDsInfo[i].ID) && (RxHeaderLocal.IDE == st_Keytest->UUT_InterestIDsInfo[i].is_extendedID)))
			{
				//READ DIRECTLY IN INTERRUPT
				st_Keytest->UUT_ReadValues[i] = readBits(CAN_RxDataLocal, st_Keytest->UUT_InterestIDsInfo[i].startBit, st_Keytest->UUT_InterestIDsInfo[i].numBits);
				//Notify Task to Read Can Value
				//memcpy(CAN_RxData + i * sizeof(uint8_t), CAN_RxDataLocal, sizeof(CAN_RxDataLocal));
				//Notify Keytest Task to Read Message
				//xQueueSendFromISR(SmacOperationsQueue, &operation,&pxHigherPriorityTaskWoken);
				//portYIELD_FROM_ISR(pxHigherPriorityTaskWoken);
			}

		}

	}
}

void HAL_UART_RxCpltCallback(UART_HandleTypeDef *huart)
{
	uint8_t operationSMAC = OP_SMAC_MSG;
	BaseType_t pxHigherPriorityTaskWoken = pdFALSE;
	uint8_t operationLIN = OP_UPDATE_LIN_VALUE;

	if(huart == st_Keytest->SmacPort)
	{

		HAL_UART_Receive_IT(st_Keytest->SmacPort, (uint8_t*)&idlebyte, 1);

		if(idlebyte == '#')
			accept_chars_smac = 1;

		if(accept_chars_smac)
		{
			fifo_push(st_Keytest->SmacRecvFIFO, idlebyte);
			if(idlebyte == '?' || idlebyte == '*')
			{

				accept_chars_smac = 0;
				fifo_push(st_Keytest->SmacRecvFIFO, '\n');
				xQueueSendFromISR(SmacOperationsQueue, &operationSMAC,&pxHigherPriorityTaskWoken);
				portYIELD_FROM_ISR(pxHigherPriorityTaskWoken);
			}

			//It only enters into this IF after the user sent a TP or TQ command from MQTT
			//Otherwise, code should never reach here
			if(idlebyte == '>' && st_Keytest->status == S_READY)
			{
				accept_chars_smac = 0;
				//Remove promt character '>' sent by Smac
				fifo_pop_last(st_Keytest->SmacRecvFIFO);
				//After this queue Send, the Keytest task Receives a SMAC Message Operation
				//The task will verify that the Smac message is not one that normally is sent during the test
				//So it can only be a response to commands such as TP or TQ
				xQueueSendFromISR(SmacOperationsQueue, &operationSMAC,&pxHigherPriorityTaskWoken);
				portYIELD_FROM_ISR(pxHigherPriorityTaskWoken);
			}
		}
	}

	//If its a LIN Message
	if(huart == st_Keytest->LinPort)
	{
		//Read ID Byte of Lin message
		uint8_t ID_byte = UUT_LIN_RxData[2];
		//Remove Parity bits of ID
		ID_byte = ID_byte & 0x3F;
		//Verify if its an ID of interest Message
		if(ID_byte == st_Keytest->UUT_InterestIDsInfo[st_Keytest->numInterestIDs - 1].ID)
		{
			//Notify Keytest Task to Read Message
			xQueueSendToFrontFromISR(SmacOperationsQueue, &operationLIN,&pxHigherPriorityTaskWoken);
			//Make another LIN Message Request
			portYIELD_FROM_ISR(pxHigherPriorityTaskWoken);
		}

	}

}

#if USE_ADC_INTERRUPT
void HAL_SPI_TxRxCpltCallback(SPI_HandleTypeDef *hspi)
{
	BaseType_t pxHigherPriorityTaskWoken = pdFALSE;

	if(hspi == st_Keytest->p_adc->spiHandle)
	{
		//Bring ADC CS Pin back up
		HAL_GPIO_WritePin(st_Keytest->p_adc->csPort, st_Keytest->p_adc->csPin, GPIO_PIN_SET);

		if(st_Keytest->status == S_BUSY)
		{
			//Notify Keytest Task that the Read ADC was complete
			xTaskNotifyFromISR(KeyTestTaskHandle, 0, 0, &pxHigherPriorityTaskWoken);
			portYIELD_FROM_ISR(pxHigherPriorityTaskWoken);
		}
	}
}
#endif

void ProcessSmacMessage(s_KeyTest* keytest_h)
{
	uint8_t esc = 0x1b;
	char msg[20] = "";

	fifo_get_message(keytest_h->SmacRecvFIFO, msg);

	if(!strcmp(msg, "#START?\n"))
	{
		if(keytest_h->enabled)
		{
			st_Keytest->status = S_BUSY;
			strcpy(keytest_h->p_output, "");
			ClearTestTimer(keytest_h);
			StartTestTimer(keytest_h);
			HAL_UART_Transmit(keytest_h->SmacPort, (uint8_t*)"\r", 1, HAL_MAX_DELAY);
		}
		else
		{
			st_Keytest->status = S_READY;
			HAL_UART_Transmit(keytest_h->SmacPort, &esc, 1, HAL_MAX_DELAY);
			StopTestTimer(keytest_h);
		}
	}
	else
	if(!strcmp(msg, "#END MEASURE*\n"))
	{
		keytest_h->enabled = 0;
		StopTestTimer(keytest_h);

		if(st_Keytest->UUT_Protocol == CAN_PROTOCOL)
		{
			if(st_Keytest->isCanFIFO0_Active)
				HAL_CAN_DeactivateNotification(st_Keytest->CanPort, CAN_IT_RX_FIFO0_MSG_PENDING);

			if(st_Keytest->isCanFIFO1_Active)
				HAL_CAN_DeactivateNotification(st_Keytest->CanPort, CAN_IT_RX_FIFO1_MSG_PENDING);
		}
		else
			HAL_UART_AbortReceive_IT(st_Keytest->LinPort);

		Mqtt_AddOutputOperation(LOG_TOPIC, keytest_h->p_output);
		//vTaskSuspend(KeyTestTaskHandle);

	}
	else
	if(!strcmp(msg, "#HOMEPOS?\n"))
		HAL_UART_Transmit(keytest_h->SmacPort, (uint8_t*)"\r", 1, HAL_MAX_DELAY);
	else
	if(!strcmp(msg, "#AT HOME*\n"))
	{
		osDelay(400);
		//HAL_TIM_Encoder_Stop(keytest_h->Encoder, TIM_CHANNEL_ALL);
		keytest_h->Encoder->Instance->CNT = 0;
		//HAL_TIM_Encoder_Start(keytest_h->Encoder, TIM_CHANNEL_ALL);
	}
	else
	if(KeyTestSetParams(keytest_h, msg))
		return;
	else
	{
		//Message is a response to a TP or TQ command
		int newMsgIndex = 0;
		char FormatedMsg[20] = "";

		for (int oldMsgIndex = 0; msg[oldMsgIndex] != '\0'; oldMsgIndex++)
		{
			if (msg[oldMsgIndex] != '\r' && msg[oldMsgIndex] != '\n')
			{
				FormatedMsg[newMsgIndex] = msg[oldMsgIndex];
				newMsgIndex++;
			}
		}

		FormatedMsg[newMsgIndex] = '\0';
		Mqtt_AddSendOperation(LOG_TOPIC, FormatedMsg);
	}

}

/* USER CODE END Application */
